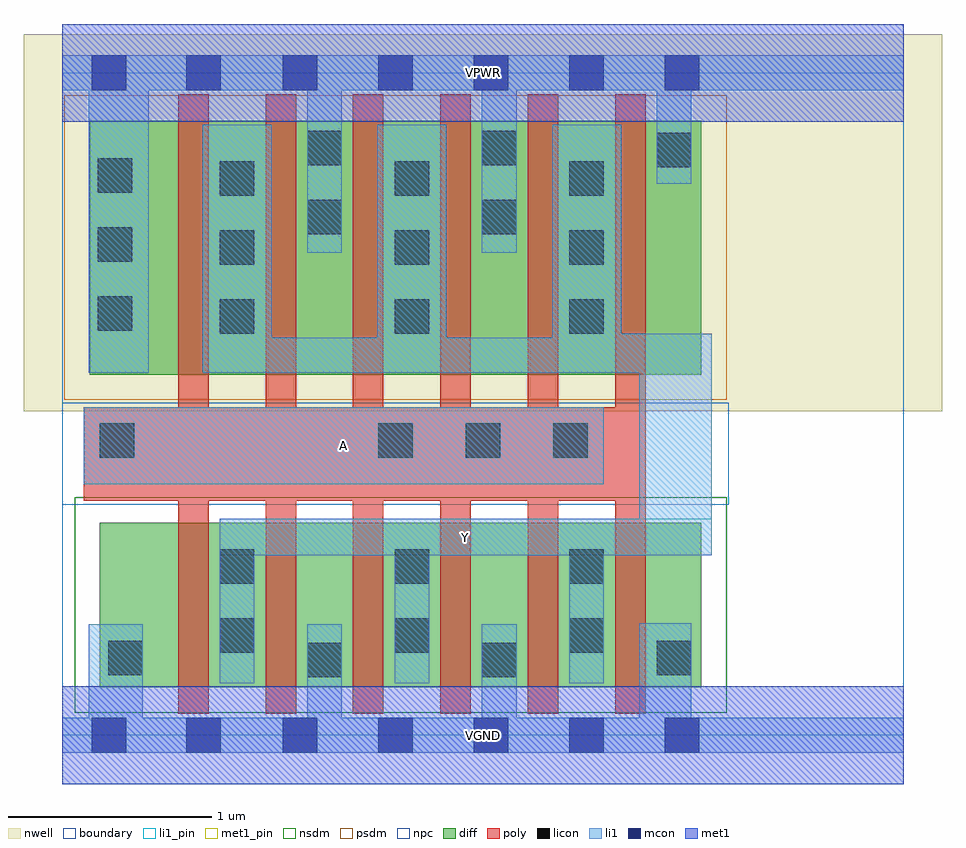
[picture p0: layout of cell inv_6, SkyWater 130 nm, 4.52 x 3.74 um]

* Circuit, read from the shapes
.subckt inv_6 A VGND VPWR Y
XM1 Y A VGND VSUBS sky130_fd_pr__nfet_01v8 w=0.81 l=0.15 m=6
XM2 Y A VPWR n1 sky130_fd_pr__pfet_01v8 w=1.25 l=0.15 m=6
.ends

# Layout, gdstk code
import gdstk
lib = gdstk.Library(unit=1e-6, precision=1e-09)
def R(c, l, rs):  # rectangles x0, y0, x1, y1
    for r in rs: c.add(gdstk.rectangle(r[:2], r[2:], *l))
def A(c, l, x, y, w, h, nx, ny, dx, dy):  # array of equal rectangles
    R(c, l, [(x+i*dx, y+j*dy, x+i*dx+w, y+j*dy+h) for i in range(nx) for j in range(ny)])
nwell = (64, 20)
diff = (65, 20)
poly = (66, 20)
licon = (66, 44)
li1_pin = (67, 16)
li1 = (67, 20)
mcon = (67, 44)
met1_pin = (68, 16)
met1 = (68, 20)
nsdm = (93, 44)
psdm = (94, 20)
npc = (95, 20)
boundary = (235, 4)

inv_6 = lib.new_cell('inv_6')
R(inv_6, nwell, [(-0.19,1.595,4.33,3.45), (0,1.595,4.14,3.45)])
R(inv_6, diff, [(0.185,0.235,3.145,1.045), (0.135,1.775,3.145,3.025)])
A(inv_6, poly, 0.57, 0.105, 0.15, 3.05, 6, 1, 0.43, 0)
R(inv_6, poly, [(0.105,1.155,2.87,1.615)])
A(inv_6, licon, 0.775, 0.405, 0.17, 0.17, 3, 2, 0.86, 0.34)
A(inv_6, licon, 1.555, 1.365, 0.17, 0.17, 3, 1, 0.43, 0)
A(inv_6, licon, 0.775, 1.975, 0.17, 0.17, 3, 3, 0.86, 0.34)
A(inv_6, licon, 0.175, 1.99, 0.17, 0.17, 1, 3, 0, 0.34)
R(inv_6, licon, [(1.205,0.285,1.375,0.455), (2.065,0.285,2.235,0.455), (0.225,0.295,0.395,0.465), (2.925,0.295,3.095,0.465), (0.185,1.365,0.355,1.535), (1.205,2.465,1.375,2.635), (2.065,2.465,2.235,2.635), (2.925,2.795,3.095,2.965), (1.205,2.805,1.375,2.975), (2.065,2.805,2.235,2.975)])
R(inv_6, li1_pin, [(0.775,0.885,3.195,1.065), (0.105,1.235,2.665,1.615)])
A(inv_6, li1, 0.775, 0.255, 0.17, 0.81, 3, 1, 0.86, 0)
A(inv_6, li1, 0.69, 1.785, 0.34, 1.22, 3, 1, 0.86, 0)
R(inv_6, li1, [(0,-0.085,4.14,0.085), (0.13,-0.085,0.395,0.545), (1.205,-0.085,1.375,0.545), (2.065,-0.085,2.235,0.545), (2.84,-0.085,3.095,0.55), (0.775,0.885,3.195,1.065), (2.84,0.885,3.195,1.975), (0.105,1.235,2.665,1.615), (0.13,1.785,0.425,3.345), (0.69,1.785,3.195,1.955), (2.41,1.785,3.195,1.975), (1.205,2.375,1.375,3.345), (2.065,2.375,2.235,3.345), (2.925,2.715,3.095,3.345), (0,3.175,4.14,3.345)])
A(inv_6, mcon, 1.085, -0.085, 0.17, 0.17, 5, 2, 0.47, 3.26)
R(inv_6, mcon, [(0.145,-0.085,0.315,0.085), (0.61,-0.085,0.78,0.085), (0.145,3.175,0.315,3.345), (0.61,3.175,0.78,3.345)])
R(inv_6, met1_pin, [(0,-0.24,4.14,0.24), (0,3.02,4.14,3.5)])
R(inv_6, met1, [(0,-0.24,4.14,0.24), (0,3.02,4.14,3.5)])
R(inv_6, nsdm, [(0.06,0.11,3.27,1.17)])
R(inv_6, psdm, [(0.01,1.65,3.27,3.15)])
R(inv_6, npc, [(0,1.135,3.28,1.635)])
R(inv_6, boundary, [(0,0,4.14,3.26)])
inv_6.add(gdstk.Label('A', (1.385,1.425), layer=67, texttype=5))
inv_6.add(gdstk.Label('Y', (1.985,0.975), layer=67, texttype=5))
inv_6.add(gdstk.Label('VPWR', (2.07,3.26), layer=68, texttype=5))
inv_6.add(gdstk.Label('VGND', (2.07,0), layer=68, texttype=5))
inv_6.add(gdstk.Label('A', (1.385,1.425), layer=67, texttype=16))
inv_6.add(gdstk.Label('Y', (1.985,0.975), layer=67, texttype=16))
inv_6.add(gdstk.Label('VPWR', (2.07,3.26), layer=68, texttype=16))
inv_6.add(gdstk.Label('VGND', (2.07,0), layer=68, texttype=16))

lib.write_gds('inv_6.gds')
